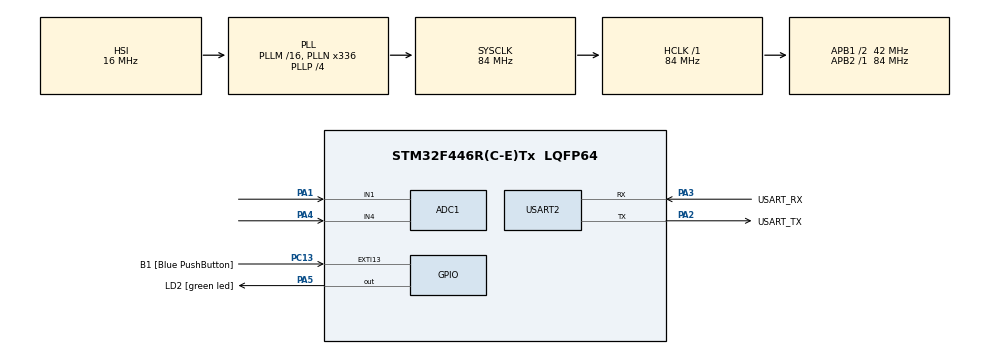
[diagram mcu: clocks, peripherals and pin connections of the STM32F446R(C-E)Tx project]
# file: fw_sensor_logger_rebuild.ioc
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ADC1.Channel-0\#ChannelRegularConversion=ADC_CHANNEL_1
ADC1.Channel-1\#ChannelRegularConversion=ADC_CHANNEL_4
ADC1.Channel-2\#ChannelRegularConversion=ADC_CHANNEL_TEMPSENSOR
ADC1.Channel-3\#ChannelRegularConversion=ADC_CHANNEL_VREFINT
ADC1.ContinuousConvMode=DISABLE
ADC1.DMAContinuousRequests=DISABLE
ADC1.ExternalTrigConv=ADC_SOFTWARE_START
ADC1.NbrOfConversion=4
ADC1.NbrOfConversionFlag=1
ADC1.Rank-0\#ChannelRegularConversion=1
ADC1.Rank-1\#ChannelRegularConversion=2
ADC1.Rank-2\#ChannelRegularConversion=3
ADC1.Rank-3\#ChannelRegularConversion=4
ADC1.SamplingTime-0\#ChannelRegularConversion=ADC_SAMPLETIME_480CYCLES
ADC1.SamplingTime-1\#ChannelRegularConversion=ADC_SAMPLETIME_480CYCLES
ADC1.SamplingTime-2\#ChannelRegularConversion=ADC_SAMPLETIME_480CYCLES
ADC1.SamplingTime-3\#ChannelRegularConversion=ADC_SAMPLETIME_480CYCLES
ADC1.ScanConvMode=ENABLE
ADC1.master=1
Dma.ADC1.0.Direction=DMA_PERIPH_TO_MEMORY
Dma.ADC1.0.FIFOMode=DMA_FIFOMODE_DISABLE
Dma.ADC1.0.Instance=DMA2_Stream0
Dma.ADC1.0.MemDataAlignment=DMA_MDATAALIGN_HALFWORD
Dma.ADC1.0.MemInc=DMA_MINC_ENABLE
Dma.ADC1.0.Mode=DMA_CIRCULAR
Dma.ADC1.0.PeriphDataAlignment=DMA_PDATAALIGN_HALFWORD
Dma.ADC1.0.PeriphInc=DMA_PINC_DISABLE
Dma.ADC1.0.Priority=DMA_PRIORITY_LOW
Dma.Request0=ADC1
Mcu.Family=STM32F4
Mcu.Name=STM32F446R(C-E)Tx
Mcu.Package=LQFP64
NVIC.ADC_IRQn=true\:0\:0\:false\:false\:true\:true\:true\:true
NVIC.DMA2_Stream0_IRQn=true\:0\:0\:false\:false\:true\:false\:true\:true
NVIC.PriorityGroup=NVIC_PRIORITYGROUP_0
NVIC.TIM2_IRQn=true\:0\:0\:false\:false\:true\:true\:true\:true
NVIC.USART2_IRQn=true\:0\:0\:false\:false\:true\:true\:true\:true
PA1.Signal=ADCx_IN1
PA13.GPIO_Label=TMS
PA13.Mode=Serial_Wire
PA13.Signal=SYS_JTMS-SWDIO
PA14.GPIO_Label=TCK
PA14.Mode=Serial_Wire
PA14.Signal=SYS_JTCK-SWCLK
PA2.GPIO_Label=USART_TX
PA2.Mode=Asynchronous
PA2.Signal=USART2_TX
PA3.GPIO_Label=USART_RX
PA3.Mode=Asynchronous
PA3.Signal=USART2_RX
PA4.Signal=ADCx_IN4
PA5.GPIO_Label=LD2 [green led]
PA5.Signal=GPIO_Output
PB3.GPIO_Label=SWO
PB3.Signal=SYS_JTDO-SWO
PC13.GPIO_Label=B1 [Blue PushButton]
PC13.GPIO_ModeDefaultEXTI=GPIO_MODE_IT_FALLING
PC13.Signal=GPXTI13
PC14-OSC32_IN.Mode=LSE-External-Oscillator
PC14-OSC32_IN.Signal=RCC_OSC32_IN
PC15-OSC32_OUT.Mode=LSE-External-Oscillator
PC15-OSC32_OUT.Signal=RCC_OSC32_OUT
PH0-OSC_IN.Mode=HSE-External-Oscillator
PH0-OSC_IN.Signal=RCC_OSC_IN
PH1-OSC_OUT.Mode=HSE-External-Oscillator
PH1-OSC_OUT.Signal=RCC_OSC_OUT
ProjectManager.HeapSize=0x200
ProjectManager.StackSize=0x400
ProjectManager.TargetToolchain=STM32CubeIDE
RCC.48MHZClocksFreq_Value=84000000
RCC.AHBFreq_Value=84000000
RCC.APB1CLKDivider=RCC_HCLK_DIV2
RCC.APB1Freq_Value=42000000
RCC.APB1TimFreq_Value=84000000
RCC.APB2Freq_Value=84000000
RCC.APB2TimFreq_Value=84000000
RCC.CortexFreq_Value=84000000
RCC.FLatency-AdvancedSettings=FLASH_LATENCY_2
RCC.HCLKFreq_Value=84000000
RCC.HSE_VALUE=8000000
RCC.HSI_VALUE=16000000
RCC.PLLN=336
RCC.PLLP=RCC_PLLP_DIV4
RCC.SYSCLKFreq_VALUE=84000000
RCC.SYSCLKSource=RCC_SYSCLKSOURCE_PLLCLK
RCC.USBFreq_Value=168000000
RCC.VCOOutputFreq_Value=336000000
SH.ADCx_IN1.0=ADC1_IN1,IN1
SH.ADCx_IN4.0=ADC1_IN4,IN4
TIM2.Period=999
TIM2.Prescaler=8399
USART2.VirtualMode=VM_ASYNC
VP_ADC1_TempSens_Input.Mode=IN-TempSens
VP_ADC1_Vref_Input.Mode=IN-Vrefint
VP_TIM2_VS_ClockSourceINT.Mode=Internal
board=NUCLEO-F446RE

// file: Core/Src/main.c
/* USER CODE BEGIN Header */
/**
  ******************************************************************************
  * @file           : main.c
  * @brief          : Main program body
  ******************************************************************************
  * @attention
  *
  * Copyright (c) 2026 STMicroelectronics.
  * All rights reserved.
  *
  * This software is licensed under terms that can be found in the LICENSE file
  * in the root directory of this software component.
  * If no LICENSE file comes with this software, it is provided AS-IS.
  *
  ******************************************************************************
  */
/* USER CODE END Header */
#include "main.h"

/* USER CODE BEGIN Includes */
#include <math.h>
#include <string.h>
#include <stdio.h>
#include <stdbool.h>
/* USER CODE END Includes */

/* USER CODE BEGIN PD */
#define Voltage_25 0.76f
#define AvgSlope 0.0025f
#define VrefInt 1.21f
#define R_FIXED 10000
#define BETA 3950
#define R0 10000

#define RB_CAPACITY 512u
#define RB_MASK (RB_CAPACITY - 1u)
/* USER CODE END PD */

/* USER CODE BEGIN PTD */
// My sample type
typedef struct {
    uint32_t time_ms;      // e.g., HAL_GetTick()
    float    therm_deg_c;  // thermistor temp
    float    ldr_pct;      // photoresistor %
} Sample;

// Ring buffer
typedef struct{
	Sample buf[RB_CAPACITY];
	uint16_t head;
	uint16_t tail;
	uint16_t count;
	uint32_t overwrites;
} Ring;
/* USER CODE END PTD */

ADC_HandleTypeDef hadc1;
DMA_HandleTypeDef hdma_adc1;

TIM_HandleTypeDef htim2;

UART_HandleTypeDef huart2;

/* USER CODE BEGIN PV */
volatile uint8_t interrupt_flag = 0;
static Ring ringbuffer;
Sample sample;

uint8_t rx_char;
char rx_buffer[64];
uint8_t rx_index = 0;
/* USER CODE END PV */

void SystemClock_Config(void);
static void MX_GPIO_Init(void);
static void MX_DMA_Init(void);
static void MX_USART2_UART_Init(void);
static void MX_ADC1_Init(void);
static void MX_TIM2_Init(void);

/* USER CODE BEGIN 0 */
// Send text to TeraTerm
static void uart_print(const char *msg)
{
  HAL_UART_Transmit(&huart2, (uint8_t*)msg, (uint16_t)strlen(msg), 100);
}

// Read one ADC conversion result (polling). This returns HAL_OK / HAL_TIMEOUT / HAL_ERROR.
static HAL_StatusTypeDef adc_poll_get(uint16_t *out)
{
  if (HAL_ADC_PollForConversion(&hadc1, 200) != HAL_OK) {
    return HAL_TIMEOUT;
  }
  *out = (uint16_t)HAL_ADC_GetValue(&hadc1);
  return HAL_OK;
}

/* =======================
   Critical section helpers
   ======================= */
// Works on Cortex-M: PRIMASK disable/enable interrupts.
static inline uint32_t rb_enter_critical(void) {
    uint32_t primask;
    __asm volatile ("MRS %0, PRIMASK" : "=r" (primask) );
    __asm volatile ("CPSID i");
    return primask;
}

static inline void rb_exit_critical(uint32_t primask) {
    __asm volatile ("MSR PRIMASK, %0" :: "r" (primask) );
}

static inline void rb_init(Ring *rb){
	memset(rb, 0, sizeof(*rb));
}
static inline void sample_init(Sample *sample){
	memset(sample, 0, sizeof(*sample));
}

/* =======================
   Push (overwrite oldest if full)
   Producer: typically ISR
   ======================= */
static inline void rb_push_overwrite(Ring *rb, const Sample *sample){
	uint32_t key = rb_enter_critical();

	rb->buf[rb->head] = *sample;
	rb->head = (rb->head + 1u) & RB_MASK;

	if(rb->count < RB_CAPACITY){
		rb->count++;
	} else{
		rb->tail = (rb->tail +1u) & RB_MASK;
		rb->overwrites++;
	}
	rb_exit_critical(key);
}
/* =======================
   Pop
   Consumer: typically main loop
   returns true if got a sample
   ======================= */
static inline bool rb_pop(Ring *rb, Sample *out){
	uint32_t key = rb_enter_critical();
	if(rb->count == 0u){
		rb_exit_critical(key);
		return false;
	}

	*out = rb->buf[rb->tail];
    rb->tail = (rb->tail + 1u) & RB_MASK;
    rb->count--;

	rb_exit_critical(key);
	return true;
}

static inline bool rb_peek_latest(Ring *rb, Sample *out){
  uint32_t key = rb_enter_critical();
  if(rb->count == 0u){
    rb_exit_critical(key);
    return false;
  }

  uint16_t latest_index = (rb->head + RB_CAPACITY - 1u) & RB_MASK;
  *out = rb->buf[latest_index];

  rb_exit_critical(key);
  return true;
}

static bool read_therm_and_ldr(float *therm_c, float *ldr_pct)
{
  uint16_t therm_adc = 0, ldr_adc = 0;

  if (HAL_ADC_Start(&hadc1) != HAL_OK) return false;

  if (adc_poll_get(&therm_adc) != HAL_OK) { HAL_ADC_Stop(&hadc1); return false; } // Rank1
  if (adc_poll_get(&ldr_adc)  != HAL_OK) { HAL_ADC_Stop(&hadc1); return false; } // Rank2

  HAL_ADC_Stop(&hadc1);

  if (therm_adc == 0 || therm_adc == 4095) return false;

  // --- thermistor convert (add clamp) ---
  float v = (therm_adc * 3.3f) / 4095.0f;
  if (v < 0.001f) v = 0.001f;
  if (v > 3.299f) v = 3.299f;

  float rth = R_FIXED * (3.3f / v - 1.0f);
  float t0 = 298.15f;
  float tempK = 1.0f / ((1.0f/t0) + (1.0f/BETA)*logf(rth / R0));
  *therm_c = tempK - 273.15f;

  *ldr_pct = ((float)ldr_adc / 4095.0f) * 100.0f;
  return true;
}

void parse_command(char *cmd)
{
    char line[128];

    if(strcmp(cmd, "start") == 0)
    {
        HAL_TIM_Base_Start_IT(&htim2);
        uart_print("Starting...\r\n");
    }
    else if(strcmp(cmd, "stop") == 0)
    {
        HAL_TIM_Base_Stop_IT(&htim2);
        uart_print("Stopping...\r\n");
    }
    else if (strcmp(cmd, "reset") == 0)
    {
        rb_init(&ringbuffer);
        sample_init(&sample);
        uart_print("Resetting...\r\n");
    }
    else if(strcmp(cmd, "status") == 0)
    {
        rb_peek_latest(&ringbuffer, &sample);
        snprintf(line, sizeof(line), "time_ms = %lu, thermistor = %.2f, Photoresistor = %.2f%%\r\n", sample.time_ms, sample.therm_deg_c, sample.ldr_pct);
        uart_print(line);
    }
    else if(strcmp(cmd, "help") == 0)
    {
        uart_print("Commands:\r\n");
        uart_print("  start  - Start sensor sampling\r\n");
        uart_print("  stop   - Stop sensor sampling\r\n");
        uart_print("  reset  - Clear ring buffer\r\n");
        uart_print("  status - Show latest sensor reading\r\n");
        uart_print("  help   - Show this message\r\n");
    }
    else
    {
    	uart_print("Unknown Command\r\n");
    }
}

void process_char(char c)
{
    HAL_UART_Transmit(&huart2, (uint8_t *)&c, 1, 10);
    if(c == '\r' || c == '\n')
    {
        rx_buffer[rx_index] = '\0';
        parse_command(rx_buffer);
        rx_index = 0;
    }
    else
    {
        rx_buffer[rx_index++] = c;
    }
}
/* USER CODE END 0 */

int main(void)
{

  /* USER CODE BEGIN 1 */
	// last_blink: last time I toggled the LED (ms)
	// last_print: last time I printed to UART (ms)
	//uint32_t last_blink = 0;
	//uint32_t last_print = 0;
	//char line[128];
  /* USER CODE END 1 */

  /* MCU Configuration--------------------------------------------------------*/

  /* Reset of all peripherals, Initializes the Flash interface and the Systick. */
  HAL_Init();

  /* USER CODE BEGIN Init */
  rb_init(&ringbuffer);
  /* USER CODE END Init */

  /* Configure the system clock */
  SystemClock_Config();

  /* Initialize all configured peripherals */
  MX_GPIO_Init();
  MX_DMA_Init();
  MX_USART2_UART_Init();
  MX_ADC1_Init();
  MX_TIM2_Init();
  /* USER CODE BEGIN 2 */
  //HAL_TIM_Base_Start_IT(&htim2);
  HAL_UART_Receive_IT(&huart2, &rx_char, 1);
  /* USER CODE END 2 */

  /* Infinite loop */
  /* USER CODE BEGIN WHILE */
  while (1) {
    if (interrupt_flag) {
      interrupt_flag--;
      sample.time_ms = HAL_GetTick();

      if (read_therm_and_ldr(&sample.therm_deg_c, &sample.ldr_pct)) {
        rb_push_overwrite(&ringbuffer, &sample);
      }
    }
    /*
    while (rb_pop(&ringbuffer, &sample)) {
      snprintf(line, sizeof(line), "time_ms = %lu, thermistor = %.2f, Photoresistor = %.2f%%\r\n", sample.time_ms, sample.therm_deg_c, sample.ldr_pct);
      uart_print(line);
    }
    HAL_Delay(1);
    */
    //------------------
    /*
	  if(interrupt_flag){
		  interrupt_flag--;
		  HAL_GPIO_TogglePin(GPIOA, GPIO_PIN_5);
			    uint16_t therm_adc = 0;
			    uint16_t temp_adc  = 0;
			    uint16_t vref_adc  = 0;
			    uint16_t ldr_adc   = 0;

			    char msg[160];

			    // 1) Start ADC scan sequence (Rank1 -> Rank2 -> Rank3)
			    if (HAL_ADC_Start(&hadc1) != HAL_OK) {
			      uart_print("ADC start error\r\n");
			    } else {
			      // 2) Read Rank 1 (thermistor)
			      if (adc_poll_get(&therm_adc) != HAL_OK) {
			        HAL_ADC_Stop(&hadc1);
			        uart_print("ADC timeout (rank1)\r\n");
			        continue; //start while loop again
			      }

			      if (adc_poll_get(&ldr_adc) != HAL_OK) {
			        HAL_ADC_Stop(&hadc1);
			        uart_print("ADC timeout (rank2)\r\n");
			        continue; //start while loop again
			      }

			      // 3) Read Rank 2 (internal temp sensor)
			      if (adc_poll_get(&temp_adc) != HAL_OK) {
			        HAL_ADC_Stop(&hadc1);
			        uart_print("ADC timeout (rank3)\r\n");
			        continue; //start while loop again
			      }

			      // 4) Read Rank 3 (vrefint)
			      if (adc_poll_get(&vref_adc) != HAL_OK) {
			        HAL_ADC_Stop(&hadc1);
			        uart_print("ADC timeout (rank4)\r\n");
			        continue; //start while loop again
			      }

			      // 5) Stop ADC (so it only runs when we ask)
			      HAL_ADC_Stop(&hadc1);

			      // ---- Calculate VDDA using Vrefint ----
			      // VDDA = (VrefInt * 4095) / vref_adc
			      float vdda = 3.3f;
			      if (vref_adc != 0) {
			        vdda = (VrefInt * 4095.0f) / (float)vref_adc;
			      }
			      if (therm_adc == 0 || therm_adc == 4095){
			    	  	HAL_ADC_Stop(&hadc1);
				        continue; //start while loop again
			      }

			      // ---- Convert internal temp sensor adc to temperature ----
			      // 1) therm_adc -> Vout
			      float vout = (therm_adc * vdda) / 4095.0f;

			      // 2) Vout -> Rth (케이스 A 예시)
			      float rth = R_FIXED * (vdda / vout - 1.0f);

			      // 3) Rth -> TempC (Beta)
			      float t0 = 298.15f;      // 25C in Kelvin
			      float tempK = 1.0f / ( (1.0f/t0) + (1.0f/BETA)*logf(rth / R0) );
			      float tempC = tempK - 273.15f;
			      // Vsense = temp_adc * VDDA / 4095
			      float vsense = ((float)temp_adc * vdda) / 4095.0f;

			      // TempC = 25 + (V25 - Vsense) / AvgSlope
			      float temp_c = (Voltage_25 - vsense) / AvgSlope + 25.0f;

			      // temp_x10 = temperature * 10 (example: 23.7°C -> 237)
			      int16_t temp_x10 = (int16_t)lroundf(temp_c * 10.0f);

			      // Print temp_x10 as X.Y
			      int16_t whole = temp_x10 / 10;
			      int16_t frac  = (temp_x10 < 0 ? -temp_x10 : temp_x10) % 10; //convert frac to absolute value to avoid printing - before the value

			      snprintf(msg, sizeof(msg),
			               "therm_adc=%u | temp_adc=%u | vref_adc=%u | VDDA=%.3fV | T=%d.%01dC | therm_C = %.2f | ldr_adc = %u\r\n",
			               (unsigned)therm_adc,
			               (unsigned)temp_adc,
			               (unsigned)vref_adc,
			               (double)vdda,
			               (int)whole, (int)frac, (float) tempC,
						   (unsigned)ldr_adc);

			      uart_print(msg);
			    }

	  }
          */
  }
    /* USER CODE END WHILE */

}

void SystemClock_Config(void)
{
  RCC_OscInitTypeDef RCC_OscInitStruct = {0};
  RCC_ClkInitTypeDef RCC_ClkInitStruct = {0};

  /** Configure the main internal regulator output voltage
  */
  __HAL_RCC_PWR_CLK_ENABLE();
  __HAL_PWR_VOLTAGESCALING_CONFIG(PWR_REGULATOR_VOLTAGE_SCALE3);

  /** Initializes the RCC Oscillators according to the specified parameters
  * in the RCC_OscInitTypeDef structure.
  */
  RCC_OscInitStruct.OscillatorType = RCC_OSCILLATORTYPE_HSI;
  RCC_OscInitStruct.HSIState = RCC_HSI_ON;
  RCC_OscInitStruct.HSICalibrationValue = RCC_HSICALIBRATION_DEFAULT;
  RCC_OscInitStruct.PLL.PLLState = RCC_PLL_ON;
  RCC_OscInitStruct.PLL.PLLSource = RCC_PLLSOURCE_HSI;
  RCC_OscInitStruct.PLL.PLLM = 16;
  RCC_OscInitStruct.PLL.PLLN = 336;
  RCC_OscInitStruct.PLL.PLLP = RCC_PLLP_DIV4;
  RCC_OscInitStruct.PLL.PLLQ = 2;
  RCC_OscInitStruct.PLL.PLLR = 2;
  if (HAL_RCC_OscConfig(&RCC_OscInitStruct) != HAL_OK)
  {
    Error_Handler();
  }

  /** Initializes the CPU, AHB and APB buses clocks
  */
  RCC_ClkInitStruct.ClockType = RCC_CLOCKTYPE_HCLK|RCC_CLOCKTYPE_SYSCLK
                              |RCC_CLOCKTYPE_PCLK1|RCC_CLOCKTYPE_PCLK2;
  RCC_ClkInitStruct.SYSCLKSource = RCC_SYSCLKSOURCE_PLLCLK;
  RCC_ClkInitStruct.AHBCLKDivider = RCC_SYSCLK_DIV1;
  RCC_ClkInitStruct.APB1CLKDivider = RCC_HCLK_DIV2;
  RCC_ClkInitStruct.APB2CLKDivider = RCC_HCLK_DIV1;

  if (HAL_RCC_ClockConfig(&RCC_ClkInitStruct, FLASH_LATENCY_2) != HAL_OK)
  {
    Error_Handler();
  }
}

static void MX_ADC1_Init(void)
{

  ADC_ChannelConfTypeDef sConfig = {0};

  /** Configure the global features of the ADC (Clock, Resolution, Data Alignment and number of conversion)
  */
  hadc1.Instance = ADC1;
  hadc1.Init.ClockPrescaler = ADC_CLOCK_SYNC_PCLK_DIV4;
  hadc1.Init.Resolution = ADC_RESOLUTION_12B;
  hadc1.Init.ScanConvMode = ENABLE;
  hadc1.Init.ContinuousConvMode = DISABLE;
  hadc1.Init.DiscontinuousConvMode = DISABLE;
  hadc1.Init.ExternalTrigConvEdge = ADC_EXTERNALTRIGCONVEDGE_NONE;
  hadc1.Init.ExternalTrigConv = ADC_SOFTWARE_START;
  hadc1.Init.DataAlign = ADC_DATAALIGN_RIGHT;
  hadc1.Init.NbrOfConversion = 4;
  hadc1.Init.DMAContinuousRequests = DISABLE;
  hadc1.Init.EOCSelection = ADC_EOC_SINGLE_CONV;
  if (HAL_ADC_Init(&hadc1) != HAL_OK)
  {
    Error_Handler();
  }

  /** Configure for the selected ADC regular channel its corresponding rank in the sequencer and its sample time.
  */
  sConfig.Channel = ADC_CHANNEL_1;
  sConfig.Rank = 1;
  sConfig.SamplingTime = ADC_SAMPLETIME_480CYCLES;
  if (HAL_ADC_ConfigChannel(&hadc1, &sConfig) != HAL_OK)
  {
    Error_Handler();
  }

  /** Configure for the selected ADC regular channel its corresponding rank in the sequencer and its sample time.
  */
  sConfig.Channel = ADC_CHANNEL_4;
  sConfig.Rank = 2;
  if (HAL_ADC_ConfigChannel(&hadc1, &sConfig) != HAL_OK)
  {
    Error_Handler();
  }

  /** Configure for the selected ADC regular channel its corresponding rank in the sequencer and its sample time.
  */
  sConfig.Channel = ADC_CHANNEL_TEMPSENSOR;
  sConfig.Rank = 3;
  if (HAL_ADC_ConfigChannel(&hadc1, &sConfig) != HAL_OK)
  {
    Error_Handler();
  }

  /** Configure for the selected ADC regular channel its corresponding rank in the sequencer and its sample time.
  */
  sConfig.Channel = ADC_CHANNEL_VREFINT;
  sConfig.Rank = 4;
  if (HAL_ADC_ConfigChannel(&hadc1, &sConfig) != HAL_OK)
  {
    Error_Handler();
  }

}

static void MX_TIM2_Init(void)
{

  TIM_ClockConfigTypeDef sClockSourceConfig = {0};
  TIM_MasterConfigTypeDef sMasterConfig = {0};

  htim2.Instance = TIM2;
  htim2.Init.Prescaler = 8399;
  htim2.Init.CounterMode = TIM_COUNTERMODE_UP;
  htim2.Init.Period = 999;
  htim2.Init.ClockDivision = TIM_CLOCKDIVISION_DIV1;
  htim2.Init.AutoReloadPreload = TIM_AUTORELOAD_PRELOAD_DISABLE;
  if (HAL_TIM_Base_Init(&htim2) != HAL_OK)
  {
    Error_Handler();
  }
  sClockSourceConfig.ClockSource = TIM_CLOCKSOURCE_INTERNAL;
  if (HAL_TIM_ConfigClockSource(&htim2, &sClockSourceConfig) != HAL_OK)
  {
    Error_Handler();
  }
  sMasterConfig.MasterOutputTrigger = TIM_TRGO_RESET;
  sMasterConfig.MasterSlaveMode = TIM_MASTERSLAVEMODE_DISABLE;
  if (HAL_TIMEx_MasterConfigSynchronization(&htim2, &sMasterConfig) != HAL_OK)
  {
    Error_Handler();
  }

}

static void MX_USART2_UART_Init(void)
{

  huart2.Instance = USART2;
  huart2.Init.BaudRate = 115200;
  huart2.Init.WordLength = UART_WORDLENGTH_8B;
  huart2.Init.StopBits = UART_STOPBITS_1;
  huart2.Init.Parity = UART_PARITY_NONE;
  huart2.Init.Mode = UART_MODE_TX_RX;
  huart2.Init.HwFlowCtl = UART_HWCONTROL_NONE;
  huart2.Init.OverSampling = UART_OVERSAMPLING_16;
  if (HAL_UART_Init(&huart2) != HAL_OK)
  {
    Error_Handler();
  }

}

static void MX_DMA_Init(void)
{

  /* DMA controller clock enable */
  __HAL_RCC_DMA2_CLK_ENABLE();

  /* DMA interrupt init */
  /* DMA2_Stream0_IRQn interrupt configuration */
  HAL_NVIC_SetPriority(DMA2_Stream0_IRQn, 0, 0);
  HAL_NVIC_EnableIRQ(DMA2_Stream0_IRQn);

}

static void MX_GPIO_Init(void)
{
  GPIO_InitTypeDef GPIO_InitStruct = {0};

  /* GPIO Ports Clock Enable */
  __HAL_RCC_GPIOC_CLK_ENABLE();
  __HAL_RCC_GPIOH_CLK_ENABLE();
  __HAL_RCC_GPIOA_CLK_ENABLE();
  __HAL_RCC_GPIOB_CLK_ENABLE();

  /*Configure GPIO pin Output Level */
  HAL_GPIO_WritePin(LD2_GPIO_Port, LD2_Pin, GPIO_PIN_RESET);

  /*Configure GPIO pin : B1_Pin */
  GPIO_InitStruct.Pin = B1_Pin;
  GPIO_InitStruct.Mode = GPIO_MODE_IT_FALLING;
  GPIO_InitStruct.Pull = GPIO_NOPULL;
  HAL_GPIO_Init(B1_GPIO_Port, &GPIO_InitStruct);

  /*Configure GPIO pin : LD2_Pin */
  GPIO_InitStruct.Pin = LD2_Pin;
  GPIO_InitStruct.Mode = GPIO_MODE_OUTPUT_PP;
  GPIO_InitStruct.Pull = GPIO_NOPULL;
  GPIO_InitStruct.Speed = GPIO_SPEED_FREQ_LOW;
  HAL_GPIO_Init(LD2_GPIO_Port, &GPIO_InitStruct);

}

/* USER CODE BEGIN 4 */
void HAL_TIM_PeriodElapsedCallback(TIM_HandleTypeDef *htim)
{
  if (htim->Instance == TIM2)
  {
	interrupt_flag++;
  }
}

void HAL_UART_RxCpltCallback(UART_HandleTypeDef *huart)
{
    if (huart->Instance == USART2)
    {
        process_char(rx_char);
        HAL_UART_Receive_IT(&huart2, &rx_char, 1);
    }
}
/* USER CODE END 4 */

void Error_Handler(void)
{
  __disable_irq();
  while (1)
  {
  }
}
